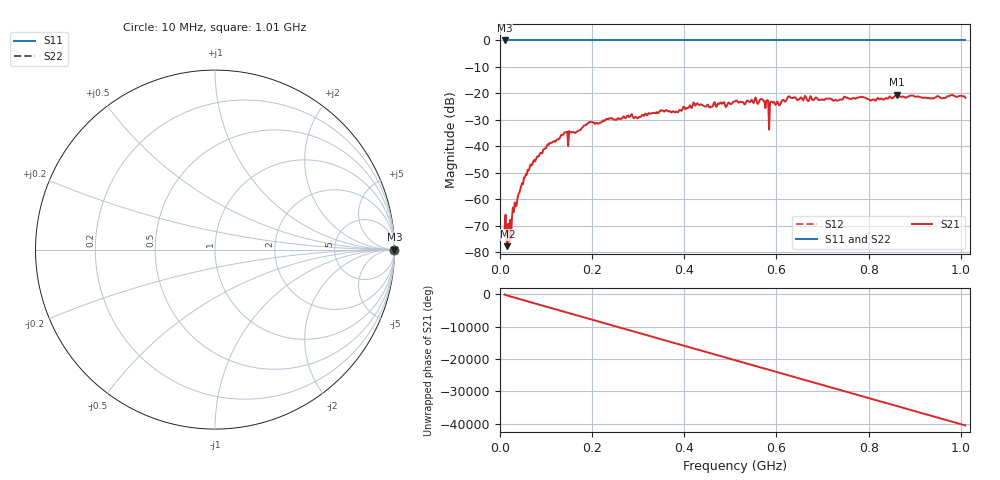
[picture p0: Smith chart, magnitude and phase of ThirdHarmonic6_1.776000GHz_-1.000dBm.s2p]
! 8/16/2025 9:27:56 PM
! C:\ANRITSUVNA\TEMP\TEMP.S2P
! CHANNEL.1
! TR.MEASUREMENT
! RAW.DATA
! RF.CORRECTION.OFF
! AVERAGING.OFF
! IF.BANDWIDTH: 5KHZ
! SWEEPTYPE:  FREQ.SWEEP(Linear)
! Reference Plane Port Info
! PORT:  PORT1  PORT2
! DISTANCE:  0  m  0  m
! TIME:  0  s  0  s
! PHASE.OFFSET:  0  deg.  0  deg.
! LOSS:  0  dB  0  dB
! REF.LOSS:  0  dB  0  dB
! REF.FREQ:  0  Hz  0  Hz
! Power Info
! POWER:  -20  dBm  -20  dBm
! EFF.POWER:  -20  dBm  -20  dBm
! SOURCE.ATTEN:  0  dB  0  dB
! TEST.ATTEN:  0  dB  0  dB
# GHZ S RI R 50.0
! FREQ.GHZ  S11RE  S11IM  S21RE  S21IM  S12RE  S12IM  S22RE  S22IM
!; PortSelection: Port_12
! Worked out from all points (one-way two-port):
!   501 points, 10 MHz to 1.01 GHz, reference 50 ohm
!   highest |S21| = -20.52 dB at 862 MHz (marker M1); lowest = -77.7 dB at 16 MHz (marker M2)
!   lowest |S11| = 0.0 dB at 10 MHz (marker M3)
!   |S11| at or under -10 dB: nowhere
!   |S22| runs from 0.0 to 0.0 dB; largest |S21 - S12| = 1.1
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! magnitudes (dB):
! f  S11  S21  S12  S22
! 10 MHz  0.0  -71.1  0.0  0.0
! 16 MHz  0.0  -77.7  0.0  0.0
! 20 MHz  0.0  -75.6  0.0  0.0
! 30 MHz  0.0  -64.8  0.0  0.0
! 44 MHz  0.0  -56.1  0.0  0.0
! 70 MHz  0.0  -46.9  0.0  0.0
! 106 MHz  0.0  -39.4  0.0  0.0
! 178 MHz  0.0  -32.9  0.0  0.0
! 196 MHz  0.0  -30.8  0.0  0.0
! 344 MHz  0.0  -27.3  0.0  0.0
! 510 MHz  0.0  -23.0  0.0  0.0
! 568 MHz  0.0  -22.1  0.0  0.0
! 578 MHz  0.0  -22.8  0.0  0.0
! 580 MHz  0.0  -22.5  0.0  0.0
! 588 MHz  0.0  -23.1  0.0  0.0
! 590 MHz  0.0  -23.3  0.0  0.0
! 608 MHz  0.0  -24.2  0.0  0.0
! 628 MHz  0.0  -21.1  0.0  0.0
! 678 MHz  0.0  -22.5  0.0  0.0
! 844 MHz  0.0  -21.5  0.0  0.0
! 862 MHz  0.0  -20.5  0.0  0.0
! 1.01 GHz  0.0  -21.7  0.0  0.0
